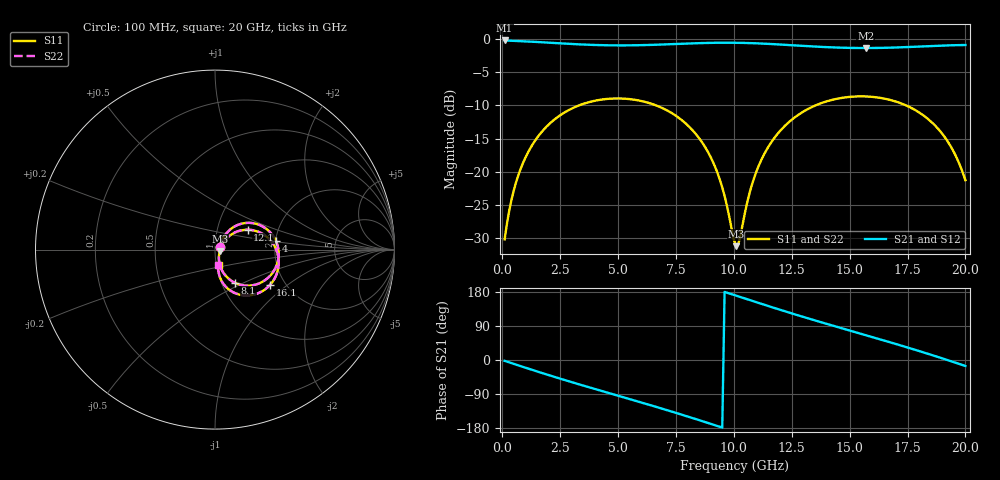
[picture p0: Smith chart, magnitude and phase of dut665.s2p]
! Touchstone file exported from HFSS 2026.1.0
!  File:  C:/ffzhzh/LocalFiles/Ansys_Project_Files/temp_train_TSV_RDL_665_1783131179_53076.aedt
!  Generated:  10:27:17 AM Jul  4, 2026
!  Design:  TSV_RDL
!  Project:  temp_train_TSV_RDL_665_1783131179_53076
! Variables:
!  h_bsmrdl = 2.57um
!  h_ox = 20um
!  h_rdl = 5um
!  h_sub = 94.62um
!  h_tmrdl = 5.32um
!  h_tsv = 94.62um
!  h_via = 3um
!  l_bsmrdl = 884.48um
!  l_sub = 6256.02um
!  l_tmrdl = 762.26um
!  m_sub = 200um
!  pitch = 39.7um
!  r_tsv = 5.52um
!  s_tmrdl = 10um
!  w_bsmrdl = 21.41um
!  w_sub = 500um
!  w_tmrdl = 29.77um
!  x_tsv_center1 = 777.145um
!  x_tsv_center2 = 1683.035um
!  x_tsv_center3 = 2475.065um
!  x_tsv_center4 = 3380.955um
!  x_tsv_center5 = 4172.985um
!  x_tsv_center6 = 5078.875um
# GHz S MA R 50.000000
! Terminal data exported
! Port[1] = TM_RDL1_1_T1
! Port[2] = TM_RDL5_1_T1
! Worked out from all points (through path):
!   200 points, 100 MHz to 20 GHz, reference 50 ohm
!   highest |S21| = -0.24 dB at 100 MHz (marker M1); lowest = -1.4 dB at 15.7 GHz (marker M2)
!   group delay of S21, straight-line fit = 51.9 ps
!   lowest |S11| = -31.2 dB at 10.1 GHz (marker M3), VSWR 1.06, Z = 52.7 - j0.967 ohm
!   |S11| at or under -10 dB: start of sweep to 3.316 GHz; 6.639 GHz to 13.53 GHz (6.891 GHz wide, 68.3 % of centre); 17.43 GHz to end of sweep
!   |S22| runs from -31.5 to -8.6 dB; largest |S21 - S12| = 7.8e-14
!   S11 on the Smith chart (normalised r, x): 100 MHz: 1.06, +0.03; 4 GHz: 2.01, +0.22; 8.1 GHz: 1.16, -0.45; 12.1 GHz: 1.40, +0.32; 16.1 GHz: 1.67, -0.76; 20 GHz: 1.03, -0.17
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0.1  0.0311 27.0  0.9727 -2.2  0.9727 -2.2  0.0311 27.0
! Gamma 0 0 0 0
! Port Impedance 50 0 50 0
0.5  0.07311 53.5  0.9656 -10.4  0.9656 -10.4  0.07311 53.5
1.2  0.1495 52.0  0.9535 -24.3  0.9535 -24.3  0.1495 52.0
2.2  0.2435 37.7  0.932 -43.6  0.932 -43.6  0.2435 37.7
3.5  0.3247 16.4  0.9062 -67.6  0.9062 -67.6  0.3247 16.4
4  0.3427 8.2  0.8994 -76.5  0.8994 -76.5  0.3427 8.2
5.4  0.3539 -14.8  0.8934 -101.3  0.8934 -101.3  0.3539 -14.8
6.8  0.3081 -37.9  0.9052 -126.5  0.9052 -126.5  0.3081 -38.0
8.1  0.216 -58.9  0.9235 -150.9  0.9235 -150.9  0.2159 -59.1
9.3  0.09752 -72.3  0.9348 -174.4  0.9348 -174.4  0.09732 -72.8
10.1  0.02765 -19.4  0.9345 169.7  0.9345 169.7  0.0267 -19.7
10.2  0.02892 2.1  0.9339 167.7  0.9339 167.7  0.02798 2.6
11  0.1033 43.6  0.9253 151.9  0.9253 151.9  0.103 44.1
12.1  0.2126 31.3  0.9046 130.6  0.9046 130.6  0.2124 31.6
13.4  0.309 10.7  0.8769 106.3  0.8769 106.3  0.3089 10.9
14.5  0.3559 -7.1  0.8597 86.6  0.8597 86.6  0.3557 -6.9
15.7  0.3691 -26.3  0.8531 65.4  0.8531 65.4  0.369 -26.2
16.1  0.3646 -32.7  0.854 58.4  0.854 58.4  0.3645 -32.5
16.7  0.3492 -42.2  0.8581 47.6  0.8581 47.6  0.3491 -42.1
18.7  0.2223 -72.8  0.886 10.3  0.886 10.3  0.2221 -72.8
19.4  0.152 -80.1  0.895 -3.6  0.895 -3.6  0.1518 -80.2
20  0.08669 -76.8  0.8992 -15.8  0.8992 -15.8  0.08625 -77.1
